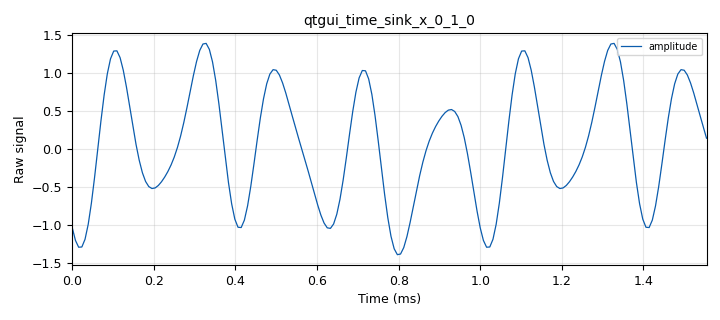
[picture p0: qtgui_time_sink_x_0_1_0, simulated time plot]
<?xml version='1.0' encoding='utf-8'?>
<?grc format='1' created='3.7.12'?>
<flow_graph>
<block>
<key>options</key>
<param><key>id</key><value>top_block</value></param>
<param><key>generate_options</key><value>qt_gui</value></param>
</block>
<block>
<key>variable_tag_object</key>
<param><key>id</key><value>beam_in_tag</value></param>
<param><key>key</key><value>pmt.intern("acq_info")</value></param>
<param><key>offset</key><value>1024</value></param>
<param><key>src</key><value>0</value></param>
<param><key>value</key><value>pmt.make_tuple(pmt.from_uint64(0), pmt.from_double(0.0), pmt.from_double(0.0), pmt.from_double(0.0), pmt.from_long(0), pmt.from_long(0), pmt.from_long(0), pmt.from_uint64(0), pmt.from_uint64(0), pmt.from_bool(True))</value></param>
</block>
<block>
<key>variable_qtgui_range</key>
<param><key>id</key><value>freq</value></param>
<param><key>value</key><value>5000</value></param>
<param><key>gui_hint</key><value>0,0</value></param>
<param><key>label</key><value>RF Frequency [Hz]</value></param>
<param><key>orient</key><value>Qt.Horizontal</value></param>
<param><key>start</key><value>5000</value></param>
<param><key>step</key><value>1</value></param>
<param><key>stop</key><value>samp_rate/2</value></param>
</block>
<block>
<key>variable</key>
<param><key>id</key><value>nbins</value></param>
<param><key>value</key><value>200</value></param>
</block>
<block>
<key>variable</key>
<param><key>id</key><value>samp_rate</value></param>
<param><key>value</key><value>128000</value></param>
</block>
<block>
<key>variable</key>
<param><key>id</key><value>win_size</value></param>
<param><key>value</key><value>512</value></param>
</block>
<block>
<key>analog_sig_source_x</key>
<param><key>id</key><value>analog_sig_source_x_0</value></param>
<param><key>amp</key><value>1</value></param>
<param><key>freq</key><value>freq</value></param>
<param><key>offset</key><value>0</value></param>
<param><key>type</key><value>float</value></param>
<param><key>samp_rate</key><value>samp_rate</value></param>
<param><key>waveform</key><value>analog.GR_SIN_WAVE</value></param>
</block>
<block>
<key>analog_sig_source_x</key>
<param><key>id</key><value>analog_sig_source_x_0_0</value></param>
<param><key>amp</key><value>0.3</value></param>
<param><key>freq</key><value>1000</value></param>
<param><key>offset</key><value>0</value></param>
<param><key>type</key><value>float</value></param>
<param><key>samp_rate</key><value>samp_rate</value></param>
<param><key>waveform</key><value>analog.GR_SIN_WAVE</value></param>
</block>
<block>
<key>analog_sig_source_x</key>
<param><key>id</key><value>analog_sig_source_x_0_0_0</value></param>
<param><key>amp</key><value>0.3</value></param>
<param><key>freq</key><value>8000</value></param>
<param><key>offset</key><value>0</value></param>
<param><key>type</key><value>float</value></param>
<param><key>samp_rate</key><value>samp_rate</value></param>
<param><key>waveform</key><value>analog.GR_SIN_WAVE</value></param>
</block>
<block>
<key>blocks_add_xx</key>
<param><key>id</key><value>blocks_add_xx_0</value></param>
<param><key>type</key><value>float</value></param>
<param><key>num_inputs</key><value>3</value></param>
</block>
<block>
<key>blocks_null_sink</key>
<param><key>id</key><value>blocks_null_sink_0_1</value></param>
<param><key>bus_conns</key><value>[[0,],]</value></param>
<param><key>type</key><value>float</value></param>
<param><key>num_inputs</key><value>6</value></param>
<param><key>vlen</key><value>nbins</value></param>
</block>
<block>
<key>blocks_throttle</key>
<param><key>id</key><value>blocks_throttle_0</value></param>
<param><key>samples_per_second</key><value>samp_rate</value></param>
<param><key>type</key><value>float</value></param>
</block>
<block>
<key>blocks_vector_to_stream</key>
<param><key>id</key><value>blocks_vector_to_stream_0_0_1</value></param>
<param><key>type</key><value>float</value></param>
<param><key>num_items</key><value>nbins</value></param>
</block>
<block>
<key>blocks_vector_to_stream</key>
<param><key>id</key><value>blocks_vector_to_stream_0_0_1_0</value></param>
<param><key>type</key><value>float</value></param>
<param><key>num_items</key><value>nbins</value></param>
</block>
<block>
<key>blocks_vector_to_stream</key>
<param><key>id</key><value>blocks_vector_to_stream_0_0_1_1</value></param>
<param><key>type</key><value>float</value></param>
<param><key>num_items</key><value>nbins</value></param>
</block>
<block>
<key>digitizers_stft_algorithms</key>
<param><key>id</key><value>digitizers_stft_algorithms_0</value></param>
<param><key>alg_id</key><value>1</value></param>
<param><key>delta_t</key><value>0.01</value></param>
<param><key>fq_low</key><value>freq-3000</value></param>
<param><key>nbins</key><value>nbins</value></param>
<param><key>samp_rate</key><value>samp_rate</value></param>
<param><key>fq_hi</key><value>freq+3000</value></param>
<param><key>win_type</key><value>firdes.WIN_BLACKMAN_hARRIS</value></param>
<param><key>win_size</key><value>1024</value></param>
</block>
<block>
<key>digitizers_stft_algorithms</key>
<param><key>id</key><value>digitizers_stft_algorithms_0_0</value></param>
<param><key>alg_id</key><value>0</value></param>
<param><key>delta_t</key><value>0.01</value></param>
<param><key>fq_low</key><value>0.0</value></param>
<param><key>nbins</key><value>nbins</value></param>
<param><key>samp_rate</key><value>samp_rate</value></param>
<param><key>fq_hi</key><value>samp_rate/2</value></param>
<param><key>win_type</key><value>firdes.WIN_BLACKMAN_hARRIS</value></param>
<param><key>win_size</key><value>nbins</value></param>
</block>
<block>
<key>digitizers_stft_algorithms</key>
<param><key>id</key><value>digitizers_stft_algorithms_0_1</value></param>
<param><key>alg_id</key><value>2</value></param>
<param><key>delta_t</key><value>0.01</value></param>
<param><key>fq_low</key><value>0.0</value></param>
<param><key>nbins</key><value>nbins</value></param>
<param><key>samp_rate</key><value>samp_rate</value></param>
<param><key>fq_hi</key><value>samp_rate/2</value></param>
<param><key>win_type</key><value>firdes.WIN_BLACKMAN_hARRIS</value></param>
<param><key>win_size</key><value>nbins</value></param>
</block>
<block>
<key>qtgui_time_sink_x</key>
<param><key>id</key><value>qtgui_time_sink_x_0_1</value></param>
<param><key>autoscale</key><value>True</value></param>
<param><key>gui_hint</key><value>1,1</value></param>
<param><key>color1</key><value>"blue"</value></param>
<param><key>label1</key><value>amplitude</value></param>
<param><key>size</key><value>nbins</value></param>
<param><key>srate</key><value>samp_rate</value></param>
<param><key>type</key><value>float</value></param>
<param><key>update_time</key><value>0.00000020</value></param>
<param><key>ylabel</key><value>Goertzel Response</value></param>
</block>
<block>
<key>qtgui_time_sink_x</key>
<param><key>id</key><value>qtgui_time_sink_x_0_1_0</value></param>
<param><key>autoscale</key><value>True</value></param>
<param><key>gui_hint</key><value>1,0</value></param>
<param><key>color1</key><value>"blue"</value></param>
<param><key>label1</key><value>amplitude</value></param>
<param><key>size</key><value>nbins</value></param>
<param><key>srate</key><value>samp_rate</value></param>
<param><key>type</key><value>float</value></param>
<param><key>update_time</key><value>0.00000020</value></param>
<param><key>ylabel</key><value>Raw signal</value></param>
</block>
<block>
<key>qtgui_time_sink_x</key>
<param><key>id</key><value>qtgui_time_sink_x_0_1_1</value></param>
<param><key>autoscale</key><value>True</value></param>
<param><key>gui_hint</key><value>2,0</value></param>
<param><key>color1</key><value>"blue"</value></param>
<param><key>label1</key><value>amplitude</value></param>
<param><key>size</key><value>nbins</value></param>
<param><key>srate</key><value>samp_rate</value></param>
<param><key>type</key><value>float</value></param>
<param><key>update_time</key><value>0.00000020</value></param>
<param><key>ylabel</key><value>FFT Response</value></param>
</block>
<block>
<key>qtgui_time_sink_x</key>
<param><key>id</key><value>qtgui_time_sink_x_0_1_2</value></param>
<param><key>autoscale</key><value>True</value></param>
<param><key>gui_hint</key><value>2,1</value></param>
<param><key>color1</key><value>"blue"</value></param>
<param><key>label1</key><value>amplitude</value></param>
<param><key>size</key><value>nbins</value></param>
<param><key>srate</key><value>samp_rate</value></param>
<param><key>type</key><value>float</value></param>
<param><key>update_time</key><value>0.00000020</value></param>
<param><key>ylabel</key><value>DFT Response</value></param>
</block>
<connection><source_block_id>analog_sig_source_x_0</source_block_id><sink_block_id>blocks_add_xx_0</sink_block_id><source_key>0</source_key><sink_key>1</sink_key></connection>
<connection><source_block_id>analog_sig_source_x_0_0</source_block_id><sink_block_id>blocks_add_xx_0</sink_block_id><source_key>0</source_key><sink_key>0</sink_key></connection>
<connection><source_block_id>analog_sig_source_x_0_0_0</source_block_id><sink_block_id>blocks_add_xx_0</sink_block_id><source_key>0</source_key><sink_key>2</sink_key></connection>
<connection><source_block_id>blocks_add_xx_0</source_block_id><sink_block_id>blocks_throttle_0</sink_block_id><source_key>0</source_key><sink_key>0</sink_key></connection>
<connection><source_block_id>blocks_throttle_0</source_block_id><sink_block_id>digitizers_stft_algorithms_0</sink_block_id><source_key>0</source_key><sink_key>0</sink_key></connection>
<connection><source_block_id>blocks_throttle_0</source_block_id><sink_block_id>digitizers_stft_algorithms_0_0</sink_block_id><source_key>0</source_key><sink_key>0</sink_key></connection>
<connection><source_block_id>blocks_throttle_0</source_block_id><sink_block_id>digitizers_stft_algorithms_0_1</sink_block_id><source_key>0</source_key><sink_key>0</sink_key></connection>
<connection><source_block_id>blocks_throttle_0</source_block_id><sink_block_id>qtgui_time_sink_x_0_1_0</sink_block_id><source_key>0</source_key><sink_key>0</sink_key></connection>
<connection><source_block_id>blocks_vector_to_stream_0_0_1</source_block_id><sink_block_id>qtgui_time_sink_x_0_1</sink_block_id><source_key>0</source_key><sink_key>0</sink_key></connection>
<connection><source_block_id>blocks_vector_to_stream_0_0_1_0</source_block_id><sink_block_id>qtgui_time_sink_x_0_1_1</sink_block_id><source_key>0</source_key><sink_key>0</sink_key></connection>
<connection><source_block_id>blocks_vector_to_stream_0_0_1_1</source_block_id><sink_block_id>qtgui_time_sink_x_0_1_2</sink_block_id><source_key>0</source_key><sink_key>0</sink_key></connection>
<connection><source_block_id>digitizers_stft_algorithms_0</source_block_id><sink_block_id>blocks_vector_to_stream_0_0_1</sink_block_id><source_key>0</source_key><sink_key>0</sink_key></connection>
<connection><source_block_id>digitizers_stft_algorithms_0</source_block_id><sink_block_id>blocks_null_sink_0_1</sink_block_id><source_key>2</source_key><sink_key>5</sink_key></connection>
<connection><source_block_id>digitizers_stft_algorithms_0</source_block_id><sink_block_id>blocks_null_sink_0_1</sink_block_id><source_key>1</source_key><sink_key>4</sink_key></connection>
<connection><source_block_id>digitizers_stft_algorithms_0_0</source_block_id><sink_block_id>blocks_vector_to_stream_0_0_1_0</sink_block_id><source_key>0</source_key><sink_key>0</sink_key></connection>
<connection><source_block_id>digitizers_stft_algorithms_0_0</source_block_id><sink_block_id>blocks_null_sink_0_1</sink_block_id><source_key>2</source_key><sink_key>3</sink_key></connection>
<connection><source_block_id>digitizers_stft_algorithms_0_0</source_block_id><sink_block_id>blocks_null_sink_0_1</sink_block_id><source_key>1</source_key><sink_key>2</sink_key></connection>
<connection><source_block_id>digitizers_stft_algorithms_0_1</source_block_id><sink_block_id>blocks_vector_to_stream_0_0_1_1</sink_block_id><source_key>0</source_key><sink_key>0</sink_key></connection>
<connection><source_block_id>digitizers_stft_algorithms_0_1</source_block_id><sink_block_id>blocks_null_sink_0_1</sink_block_id><source_key>2</source_key><sink_key>1</sink_key></connection>
<connection><source_block_id>digitizers_stft_algorithms_0_1</source_block_id><sink_block_id>blocks_null_sink_0_1</sink_block_id><source_key>1</source_key><sink_key>0</sink_key></connection>
</flow_graph>
